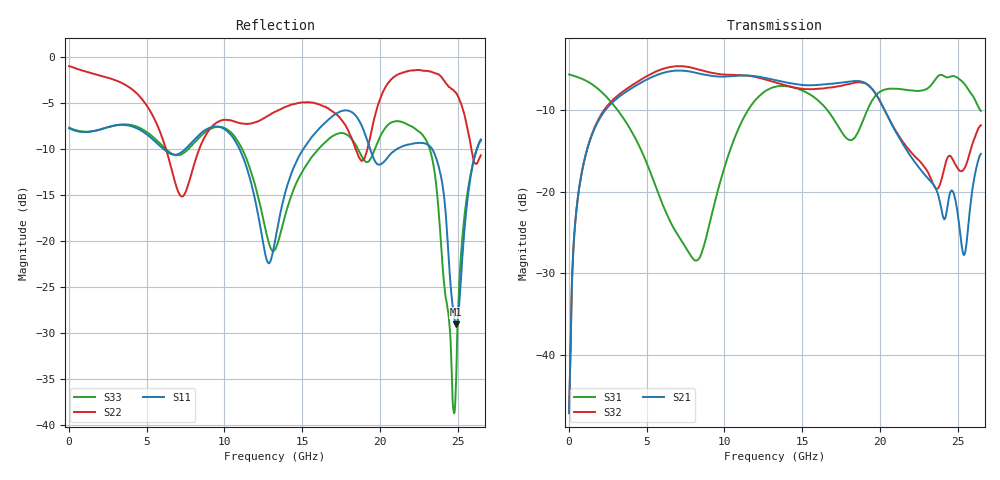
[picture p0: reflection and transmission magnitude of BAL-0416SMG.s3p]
! MARKI MICROWAVE INC.
! Email:  support@markimicrowave.com  Phone:  408-778-4200
! Model Number:  BAL-0416SMG  Date:  10/14
! Filename:		BAL-0416.S3P  Version: 1.0
! Description:  3-port S-parameter data for Balun BAL-0413SMG
! Frequency Range: 	10 MHz to 26.5 GHz
! Port Configuration:	PORT 1: OUTPUT (0 DEGREE), PORT 2: COMMON, PORT 3: OUTPUT (180 DEGREE)
! S3P File: Measurements: Mag<S11> Ang<S11> Mag<S12> Ang<S12> Mag<S13> Ang<S13>! row 1
!  Mag<S21> Ang<S21> Mag<S22> Ang<S22> Mag<S23> Ang<S23>! row 2
!  Mag<S31> Ang<S31> Mag<S32> Ang<S32> Mag<S33> Ang<S33>! row 3
# Hz S  dB  R 50
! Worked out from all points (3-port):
!   801 points, 10 MHz to 26.5 GHz, reference 50 ohm
!   strongest paths, dB at 10 MHz, 6.633 GHz, 13.26 GHz, 19.88 GHz, 26.5 GHz:
!     S21: -46.9, -5.2, -6.3, -8.5, -15.4
!     S32: -47.1, -4.7, -6.6, -8.5, -11.9
!     S31: -5.7, -24.1, -7.2, -8.0, -10.1
!   lowest |S11| = -29.1 dB at 24.91 GHz (marker M1), VSWR 1.07, Z = 47.4 + j2.18 ohm
!   |S11| at or under -10 dB: 10.97 GHz to 15.09 GHz (4.126 GHz wide, 31.7 % of centre); 19.37 GHz to 21.13 GHz (1.763 GHz wide, 8.71 % of centre); 23.36 GHz to 26.25 GHz (2.887 GHz wide, 11.6 % of centre)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
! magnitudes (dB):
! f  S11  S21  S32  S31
! 10 MHz  -7.8  -46.9  -47.1  -5.7
! 539.8 MHz  -8.1  -21.2  -21.2  -6.0
! 2.129 GHz  -7.8  -10.6  -10.4  -7.9
! 8.189 GHz  -8.8  -5.5  -5.0  -28.4
! 13.26 GHz  -20.0  -6.3  -6.6  -7.2
! 17.1 GHz  -6.3  -6.8  -7.2  -11.3
! 22.2 GHz  -9.4  -16.2  -15.6  -7.6
! 23.85 GHz  -12.4  -21.1  -19.2  -5.7
! 24.91 GHz  -29.1  -21.5  -16.9  -6.0
! 26.5 GHz  -9.0  -15.4  -11.9  -10.1
